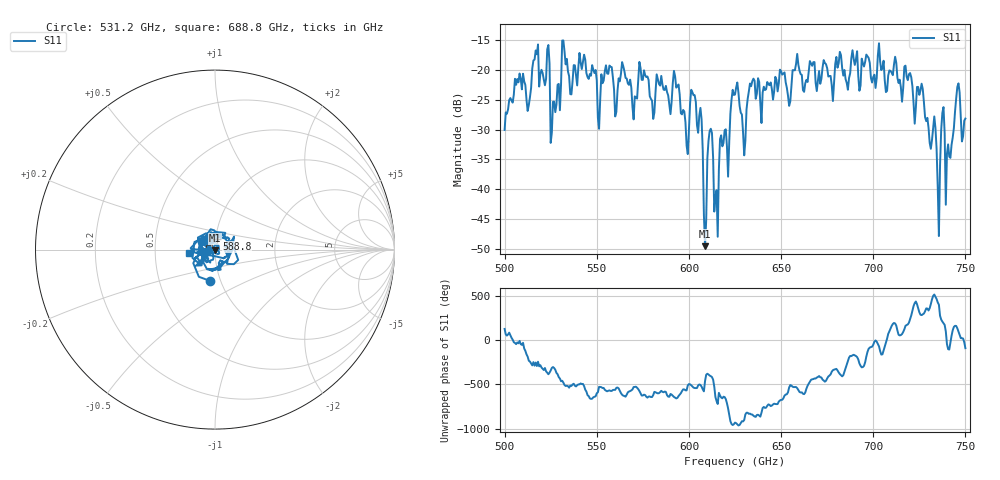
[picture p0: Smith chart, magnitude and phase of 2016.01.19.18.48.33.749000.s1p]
!Created with skrf (http://scikit-rf.org).
# GHz S RI R 50.0
!freq ReS11 ImS11
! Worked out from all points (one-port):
!   401 points, 500 GHz to 750 GHz, reference 50 ohm
!   lowest |S11| = -49.5 dB at 608.8 GHz (marker M1), VSWR 1.01, Z = 49.9 - j0.326 ohm
!   |S11| at or under -10 dB: start of sweep to end of sweep
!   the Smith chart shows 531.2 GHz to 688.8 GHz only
!   S11 on the Smith chart (normalised r, x): 531.2 GHz: 0.89, -0.32; 588.8 GHz: 1.01, +0.12; 688.8 GHz: 0.75, -0.03
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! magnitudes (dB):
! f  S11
! 500 GHz  -30.1
! 506.9 GHz  -21.5
! 513.1 GHz  -25.9
! 516.9 GHz  -16.7
! 523.1 GHz  -16.6
! 526.2 GHz  -25.3
! 531.2 GHz  -15.1
! 562.5 GHz  -21.9
! 588.8 GHz  -24.3
! 593.8 GHz  -22.7
! 598.8 GHz  -32.7
! 602.5 GHz  -24.2
! 606.2 GHz  -26.4
! 608.8 GHz  -49.5
! 611.9 GHz  -29.9
! 615 GHz  -40.2
! 625 GHz  -24.1
! 629.4 GHz  -30.5
! 634.4 GHz  -21.9
! 656.2 GHz  -20.1
! 687.5 GHz  -20.5
! 688.8 GHz  -16.7
! 718.8 GHz  -21.7
! 735 GHz  -39.7
! 737.5 GHz  -27.2
! 740.6 GHz  -32.5
! 745.6 GHz  -22.8
! 750 GHz  -28.2
